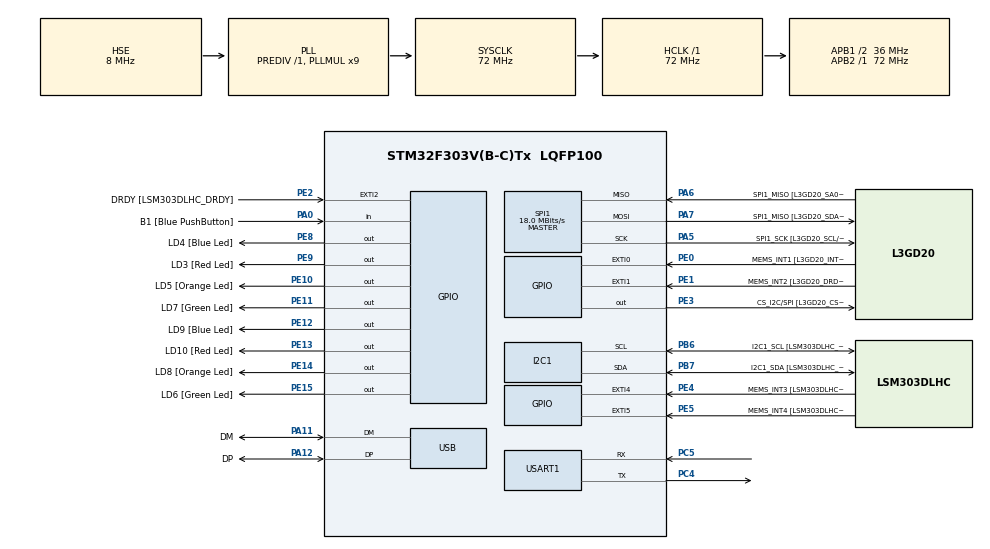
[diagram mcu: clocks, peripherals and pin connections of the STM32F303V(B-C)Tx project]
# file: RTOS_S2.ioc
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FREERTOS.BinarySemaphores01=BinSem,Dynamic,NULL
FREERTOS.Tasks01=NormalTask,0,128,StartNormalTask,Default,NULL,Dynamic,NULL,NULL;HighTask,1,128,StartHighTask,Default,NULL,Dynamic,NULL,NULL;LowTask,-1,128,StartLowTask,Default,NULL,Dynamic,NULL,NULL
FREERTOS.configUSE_NEWLIB_REENTRANT=1
I2C1.Timing-I2C=0x2000090E
Mcu.Family=STM32F3
Mcu.Name=STM32F303V(B-C)Tx
Mcu.Package=LQFP100
NVIC.PriorityGroup=NVIC_PRIORITYGROUP_4
NVIC.TIM1_UP_TIM16_IRQn=true\:15\:0\:false\:false\:true\:false\:false\:true\:true
NVIC.TimeBase=TIM1_UP_TIM16_IRQn
NVIC.TimeBaseIP=TIM1
PA0.GPIO_Label=B1 [Blue PushButton]
PA0.Signal=GPIO_Input
PA11.GPIO_Label=DM
PA11.Mode=Device
PA11.Signal=USB_DM
PA12.GPIO_Label=DP
PA12.Mode=Device
PA12.Signal=USB_DP
PA13.GPIO_Label=SWDIO
PA13.Mode=Serial_Wire
PA13.Signal=SYS_JTMS-SWDIO
PA14.GPIO_Label=SWCLK
PA14.Mode=Serial_Wire
PA14.Signal=SYS_JTCK-SWCLK
PA5.GPIO_Label=SPI1_SCK [L3GD20_SCL/SPC]
PA5.Mode=Full_Duplex_Master
PA5.Signal=SPI1_SCK
PA6.GPIO_Label=SPI1_MISO [L3GD20_SA0/SDO]
PA6.Mode=Full_Duplex_Master
PA6.Signal=SPI1_MISO
PA7.GPIO_Label=SPI1_MISO [L3GD20_SDA/SDI/SDO]
PA7.Mode=Full_Duplex_Master
PA7.Signal=SPI1_MOSI
PB3.GPIO_Label=SWO
PB3.Signal=SYS_JTDO-TRACESWO
PB6.GPIO_Label=I2C1_SCL [LSM303DLHC_SCL]
PB6.GPIO_Pu=GPIO_PULLUP
PB6.Mode=I2C
PB6.Signal=I2C1_SCL
PB7.GPIO_Label=I2C1_SDA [LSM303DLHC_SDA]
PB7.GPIO_Pu=GPIO_PULLUP
PB7.Mode=I2C
PB7.Signal=I2C1_SDA
PC14-OSC32_IN.GPIO_Label=OSC32_IN
PC14-OSC32_IN.Signal=RCC_OSC32_IN
PC15-OSC32_OUT.GPIO_Label=OSC32_OUT
PC15-OSC32_OUT.Signal=RCC_OSC32_OUT
PC4.Mode=Asynchronous
PC4.Signal=USART1_TX
PC5.Mode=Asynchronous
PC5.Signal=USART1_RX
PE0.GPIO_Label=MEMS_INT1 [L3GD20_INT1]
PE0.GPIO_ModeDefaultEXTI=GPIO_MODE_EVT_RISING
PE0.Signal=GPXTI0
PE1.GPIO_Label=MEMS_INT2 [L3GD20_DRDY/INT2]
PE1.GPIO_ModeDefaultEXTI=GPIO_MODE_EVT_RISING
PE1.Signal=GPXTI1
PE10.GPIO_Label=LD5 [Orange Led]
PE10.Signal=GPIO_Output
PE11.GPIO_Label=LD7 [Green Led]
PE11.Signal=GPIO_Output
PE12.GPIO_Label=LD9 [Blue Led]
PE12.Signal=GPIO_Output
PE13.GPIO_Label=LD10 [Red Led]
PE13.Signal=GPIO_Output
PE14.GPIO_Label=LD8 [Orange Led]
PE14.Signal=GPIO_Output
PE15.GPIO_Label=LD6 [Green Led]
PE15.Signal=GPIO_Output
PE2.GPIO_Label=DRDY [LSM303DLHC_DRDY]
PE2.GPIO_ModeDefaultEXTI=GPIO_MODE_EVT_RISING
PE2.Signal=GPXTI2
PE3.GPIO_Label=CS_I2C/SPI [L3GD20_CS_I2C/SPI]
PE3.Signal=GPIO_Output
PE4.GPIO_Label=MEMS_INT3 [LSM303DLHC_INT1]
PE4.GPIO_ModeDefaultEXTI=GPIO_MODE_EVT_RISING
PE4.Signal=GPXTI4
PE5.GPIO_Label=MEMS_INT4 [LSM303DLHC_INT2]
PE5.GPIO_ModeDefaultEXTI=GPIO_MODE_EVT_RISING
PE5.Signal=GPXTI5
PE8.GPIO_Label=LD4 [Blue Led]
PE8.Signal=GPIO_Output
PE9.GPIO_Label=LD3 [Red Led]
PE9.Signal=GPIO_Output
PF0-OSC_IN.GPIO_Label=OSC_IN
PF0-OSC_IN.Mode=HSE-External-Clock-Source
PF0-OSC_IN.Signal=RCC_OSC_IN
PF1-OSC_OUT.GPIO_Label=OSC_OUT
PF1-OSC_OUT.Signal=RCC_OSC_OUT
ProjectManager.HeapSize=0x200
ProjectManager.StackSize=0x400
ProjectManager.TargetToolchain=STM32CubeIDE
RCC.AHBFreq_Value=72000000
RCC.APB1CLKDivider=RCC_HCLK_DIV2
RCC.APB1Freq_Value=36000000
RCC.APB1TimFreq_Value=72000000
RCC.APB2Freq_Value=72000000
RCC.APB2TimFreq_Value=72000000
RCC.CortexFreq_Value=72000000
RCC.HCLKFreq_Value=72000000
RCC.HSE_VALUE=8000000
RCC.HSI_VALUE=8000000
RCC.LSE_VALUE=32768
RCC.PLLMUL=RCC_PLL_MUL9
RCC.PRESCALERUSB=RCC_USBCLKSOURCE_PLL_DIV1_5
RCC.SYSCLKFreq_VALUE=72000000
RCC.SYSCLKSourceVirtual=RCC_SYSCLKSOURCE_PLLCLK
RCC.USBFreq_Value=48000000
SPI1.BaudRatePrescaler=SPI_BAUDRATEPRESCALER_4
SPI1.BaudRatePrescaler-Full_Duplex_Master=SPI_BAUDRATEPRESCALER_2
SPI1.CalculateBaudRate=18.0 MBits/s
SPI1.CalculateBaudRate-Full_Duplex_Master=24.0 MBits/s
SPI1.Direction=SPI_DIRECTION_2LINES
SPI1.Mode=SPI_MODE_MASTER
SPI1.Mode-Full_Duplex_Master=SPI_MODE_MASTER
SPI1.VirtualType=VM_MASTER
USART1.VirtualMode-Asynchronous=VM_ASYNC
VP_FREERTOS_VS_CMSIS_V1.Mode=CMSIS_V1
VP_SYS_VS_tim1.Mode=TIM1
board=STM32F3DISCOVERY

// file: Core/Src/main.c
/* USER CODE BEGIN Header */
/**
  ******************************************************************************
  * @file           : main.c
  * @brief          : Main program body
  ******************************************************************************
  * @attention
  *
  * Copyright (c) 2024 STMicroelectronics.
  * All rights reserved.
  *
  * This software is licensed under terms that can be found in the LICENSE file
  * in the root directory of this software component.
  * If no LICENSE file comes with this software, it is provided AS-IS.
  *
  ******************************************************************************
  */
/* USER CODE END Header */
#include "main.h"
#include "cmsis_os.h"

I2C_HandleTypeDef hi2c1;

SPI_HandleTypeDef hspi1;

UART_HandleTypeDef huart1;

PCD_HandleTypeDef hpcd_USB_FS;

osThreadId NormalTaskHandle;
osThreadId HighTaskHandle;
osThreadId LowTaskHandle;
osSemaphoreId BinSemHandle;

void SystemClock_Config(void);
static void MX_GPIO_Init(void);
static void MX_I2C1_Init(void);
static void MX_SPI1_Init(void);
static void MX_USB_PCD_Init(void);
static void MX_USART1_UART_Init(void);
void StartNormalTask(void const * argument);
void StartHighTask(void const * argument);
void StartLowTask(void const * argument);

int main(void)
{

  /* MCU Configuration--------------------------------------------------------*/

  /* Reset of all peripherals, Initializes the Flash interface and the Systick. */
  HAL_Init();

  /* Configure the system clock */
  SystemClock_Config();

  /* Initialize all configured peripherals */
  MX_GPIO_Init();
  MX_I2C1_Init();
  MX_SPI1_Init();
  MX_USB_PCD_Init();
  MX_USART1_UART_Init();

  /* Create the semaphores(s) */
  /* definition and creation of BinSem */
  osSemaphoreDef(BinSem);
  BinSemHandle = osSemaphoreCreate(osSemaphore(BinSem), 1);

  /* Create the thread(s) */
  /* definition and creation of NormalTask */
  osThreadDef(NormalTask, StartNormalTask, osPriorityNormal, 0, 128);
  NormalTaskHandle = osThreadCreate(osThread(NormalTask), NULL);

  /* definition and creation of HighTask */
  osThreadDef(HighTask, StartHighTask, osPriorityAboveNormal, 0, 128);
  HighTaskHandle = osThreadCreate(osThread(HighTask), NULL);

  /* definition and creation of LowTask */
  osThreadDef(LowTask, StartLowTask, osPriorityBelowNormal, 0, 128);
  LowTaskHandle = osThreadCreate(osThread(LowTask), NULL);

  /* Start scheduler */
  osKernelStart();

  /* We should never get here as control is now taken by the scheduler */
  /* Infinite loop */
  while (1)
  {

  }
}

void SystemClock_Config(void)
{
  RCC_OscInitTypeDef RCC_OscInitStruct = {0};
  RCC_ClkInitTypeDef RCC_ClkInitStruct = {0};
  RCC_PeriphCLKInitTypeDef PeriphClkInit = {0};

  /** Initializes the RCC Oscillators according to the specified parameters
  * in the RCC_OscInitTypeDef structure.
  */
  RCC_OscInitStruct.OscillatorType = RCC_OSCILLATORTYPE_HSI|RCC_OSCILLATORTYPE_HSE;
  RCC_OscInitStruct.HSEState = RCC_HSE_BYPASS;
  RCC_OscInitStruct.HSEPredivValue = RCC_HSE_PREDIV_DIV1;
  RCC_OscInitStruct.HSIState = RCC_HSI_ON;
  RCC_OscInitStruct.HSICalibrationValue = RCC_HSICALIBRATION_DEFAULT;
  RCC_OscInitStruct.PLL.PLLState = RCC_PLL_ON;
  RCC_OscInitStruct.PLL.PLLSource = RCC_PLLSOURCE_HSE;
  RCC_OscInitStruct.PLL.PLLMUL = RCC_PLL_MUL9;
  if (HAL_RCC_OscConfig(&RCC_OscInitStruct) != HAL_OK)
  {
    Error_Handler();
  }

  /** Initializes the CPU, AHB and APB buses clocks
  */
  RCC_ClkInitStruct.ClockType = RCC_CLOCKTYPE_HCLK|RCC_CLOCKTYPE_SYSCLK
                              |RCC_CLOCKTYPE_PCLK1|RCC_CLOCKTYPE_PCLK2;
  RCC_ClkInitStruct.SYSCLKSource = RCC_SYSCLKSOURCE_PLLCLK;
  RCC_ClkInitStruct.AHBCLKDivider = RCC_SYSCLK_DIV1;
  RCC_ClkInitStruct.APB1CLKDivider = RCC_HCLK_DIV2;
  RCC_ClkInitStruct.APB2CLKDivider = RCC_HCLK_DIV1;

  if (HAL_RCC_ClockConfig(&RCC_ClkInitStruct, FLASH_LATENCY_2) != HAL_OK)
  {
    Error_Handler();
  }
  PeriphClkInit.PeriphClockSelection = RCC_PERIPHCLK_USB|RCC_PERIPHCLK_USART1
                              |RCC_PERIPHCLK_I2C1;
  PeriphClkInit.Usart1ClockSelection = RCC_USART1CLKSOURCE_PCLK2;
  PeriphClkInit.I2c1ClockSelection = RCC_I2C1CLKSOURCE_HSI;
  PeriphClkInit.USBClockSelection = RCC_USBCLKSOURCE_PLL_DIV1_5;
  if (HAL_RCCEx_PeriphCLKConfig(&PeriphClkInit) != HAL_OK)
  {
    Error_Handler();
  }
}

static void MX_I2C1_Init(void)
{

  hi2c1.Instance = I2C1;
  hi2c1.Init.Timing = 0x2000090E;
  hi2c1.Init.OwnAddress1 = 0;
  hi2c1.Init.AddressingMode = I2C_ADDRESSINGMODE_7BIT;
  hi2c1.Init.DualAddressMode = I2C_DUALADDRESS_DISABLE;
  hi2c1.Init.OwnAddress2 = 0;
  hi2c1.Init.OwnAddress2Masks = I2C_OA2_NOMASK;
  hi2c1.Init.GeneralCallMode = I2C_GENERALCALL_DISABLE;
  hi2c1.Init.NoStretchMode = I2C_NOSTRETCH_DISABLE;
  if (HAL_I2C_Init(&hi2c1) != HAL_OK)
  {
    Error_Handler();
  }

  /** Configure Analogue filter
  */
  if (HAL_I2CEx_ConfigAnalogFilter(&hi2c1, I2C_ANALOGFILTER_ENABLE) != HAL_OK)
  {
    Error_Handler();
  }

  /** Configure Digital filter
  */
  if (HAL_I2CEx_ConfigDigitalFilter(&hi2c1, 0) != HAL_OK)
  {
    Error_Handler();
  }

}

static void MX_SPI1_Init(void)
{

  /* SPI1 parameter configuration*/
  hspi1.Instance = SPI1;
  hspi1.Init.Mode = SPI_MODE_MASTER;
  hspi1.Init.Direction = SPI_DIRECTION_2LINES;
  hspi1.Init.DataSize = SPI_DATASIZE_4BIT;
  hspi1.Init.CLKPolarity = SPI_POLARITY_LOW;
  hspi1.Init.CLKPhase = SPI_PHASE_1EDGE;
  hspi1.Init.NSS = SPI_NSS_SOFT;
  hspi1.Init.BaudRatePrescaler = SPI_BAUDRATEPRESCALER_4;
  hspi1.Init.FirstBit = SPI_FIRSTBIT_MSB;
  hspi1.Init.TIMode = SPI_TIMODE_DISABLE;
  hspi1.Init.CRCCalculation = SPI_CRCCALCULATION_DISABLE;
  hspi1.Init.CRCPolynomial = 7;
  hspi1.Init.CRCLength = SPI_CRC_LENGTH_DATASIZE;
  hspi1.Init.NSSPMode = SPI_NSS_PULSE_ENABLE;
  if (HAL_SPI_Init(&hspi1) != HAL_OK)
  {
    Error_Handler();
  }

}

static void MX_USART1_UART_Init(void)
{

  huart1.Instance = USART1;
  huart1.Init.BaudRate = 38400;
  huart1.Init.WordLength = UART_WORDLENGTH_8B;
  huart1.Init.StopBits = UART_STOPBITS_1;
  huart1.Init.Parity = UART_PARITY_NONE;
  huart1.Init.Mode = UART_MODE_TX_RX;
  huart1.Init.HwFlowCtl = UART_HWCONTROL_NONE;
  huart1.Init.OverSampling = UART_OVERSAMPLING_16;
  huart1.Init.OneBitSampling = UART_ONE_BIT_SAMPLE_DISABLE;
  huart1.AdvancedInit.AdvFeatureInit = UART_ADVFEATURE_NO_INIT;
  if (HAL_UART_Init(&huart1) != HAL_OK)
  {
    Error_Handler();
  }

}

static void MX_USB_PCD_Init(void)
{

  hpcd_USB_FS.Instance = USB;
  hpcd_USB_FS.Init.dev_endpoints = 8;
  hpcd_USB_FS.Init.speed = PCD_SPEED_FULL;
  hpcd_USB_FS.Init.phy_itface = PCD_PHY_EMBEDDED;
  hpcd_USB_FS.Init.low_power_enable = DISABLE;
  hpcd_USB_FS.Init.battery_charging_enable = DISABLE;
  if (HAL_PCD_Init(&hpcd_USB_FS) != HAL_OK)
  {
    Error_Handler();
  }

}

static void MX_GPIO_Init(void)
{
  GPIO_InitTypeDef GPIO_InitStruct = {0};

  /* GPIO Ports Clock Enable */
  __HAL_RCC_GPIOE_CLK_ENABLE();
  __HAL_RCC_GPIOC_CLK_ENABLE();
  __HAL_RCC_GPIOF_CLK_ENABLE();
  __HAL_RCC_GPIOA_CLK_ENABLE();
  __HAL_RCC_GPIOB_CLK_ENABLE();

  /*Configure GPIO pin Output Level */
  HAL_GPIO_WritePin(GPIOE, CS_I2C_SPI_Pin|LD4_Pin|LD3_Pin|LD5_Pin
                          |LD7_Pin|LD9_Pin|LD10_Pin|LD8_Pin
                          |LD6_Pin, GPIO_PIN_RESET);

  /*Configure GPIO pins : DRDY_Pin MEMS_INT3_Pin MEMS_INT4_Pin MEMS_INT1_Pin
                           MEMS_INT2_Pin */
  GPIO_InitStruct.Pin = DRDY_Pin|MEMS_INT3_Pin|MEMS_INT4_Pin|MEMS_INT1_Pin
                          |MEMS_INT2_Pin;
  GPIO_InitStruct.Mode = GPIO_MODE_EVT_RISING;
  GPIO_InitStruct.Pull = GPIO_NOPULL;
  HAL_GPIO_Init(GPIOE, &GPIO_InitStruct);

  /*Configure GPIO pins : CS_I2C_SPI_Pin LD4_Pin LD3_Pin LD5_Pin
                           LD7_Pin LD9_Pin LD10_Pin LD8_Pin
                           LD6_Pin */
  GPIO_InitStruct.Pin = CS_I2C_SPI_Pin|LD4_Pin|LD3_Pin|LD5_Pin
                          |LD7_Pin|LD9_Pin|LD10_Pin|LD8_Pin
                          |LD6_Pin;
  GPIO_InitStruct.Mode = GPIO_MODE_OUTPUT_PP;
  GPIO_InitStruct.Pull = GPIO_NOPULL;
  GPIO_InitStruct.Speed = GPIO_SPEED_FREQ_LOW;
  HAL_GPIO_Init(GPIOE, &GPIO_InitStruct);

  /*Configure GPIO pin : B1_Pin */
  GPIO_InitStruct.Pin = B1_Pin;
  GPIO_InitStruct.Mode = GPIO_MODE_INPUT;
  GPIO_InitStruct.Pull = GPIO_NOPULL;
  HAL_GPIO_Init(B1_GPIO_Port, &GPIO_InitStruct);

}

/* USER CODE BEGIN 4 */
void task_High_send() {
	uint8_t data[50];
    sprintf(data, "Task High => *Enter* & waiting for Binary Semaphore\r\n");
    HAL_UART_Transmit(&huart1, data, strlen(data), 500);

    osSemaphoreWait(BinSemHandle, osWaitForever);

    sprintf(data, "Task High => acquired by Binary Semaphore\r\n");
    HAL_UART_Transmit(&huart1, data, strlen(data), 500);

    sprintf(data, "Task High => #Leave#  & relase the Binary Semaphore\r\n");
    HAL_UART_Transmit(&huart1, data, strlen(data), 500);

    osSemaphoreRelease(BinSemHandle);
}

/*void task_Normal_send() {
	uint8_t data[50];
    sprintf(data, "Task Medium => *Enter* & waiting for Binary Semaphore\r\n");
    HAL_UART_Transmit(&huart1, data, strlen(data), 500);

    osSemaphoreWait(BinSemHandle, osWaitForever);

    sprintf(data, "Task Medium => acquired by Binary Semaphore\r\n");
    HAL_UART_Transmit(&huart1, data, strlen(data), 500);

    while(!HAL_GPIO_ReadPin(B1_GPIO_Port, B1_Pin));

    sprintf(data, "Task Medium => #Leave# & relase the Binary Semaphore\r\n");
    HAL_UART_Transmit(&huart1, data, strlen(data), 500);

   osSemaphoreRelease(BinSemHandle);
}*/

void task_Normal_send() {
	uint8_t data[50];
    sprintf(data, "Task Medium => *Enter*\r\n");
    HAL_UART_Transmit(&huart1, data, strlen(data), 500);

    sprintf(data, "Task Medium => #Leave#\r\n");
    HAL_UART_Transmit(&huart1, data, strlen(data), 500);
}

/*
void task_Low_send() {
	uint8_t data[50];
    sprintf(data, "Task Low => *Enter* \r\n");
    HAL_UART_Transmit(&huart1, data, strlen(data), 500);

    sprintf(data, "Task Low => #Leave# \r\n");
    HAL_UART_Transmit(&huart1, data, strlen(data), 500);
}
*/

void task_Low_send() {
	uint8_t data[50];
    sprintf(data, "Task Low => *Enter* & waiting for Binary Semaphore\r\n");
    HAL_UART_Transmit(&huart1, data, strlen(data), 500);

    osSemaphoreWait(BinSemHandle, osWaitForever);

    sprintf(data, "Task Low => acquired by Binary Semaphore\r\n");
    HAL_UART_Transmit(&huart1, data, strlen(data), 500);

    while(!HAL_GPIO_ReadPin(B1_GPIO_Port, B1_Pin));

    sprintf(data, "Task Low => #Leave# & relase the Binary Semaphore\r\n");
    HAL_UART_Transmit(&huart1, data, strlen(data), 500);

    osSemaphoreRelease(BinSemHandle);
}
/* USER CODE END 4 */

void StartNormalTask(void const * argument)
{
  /* USER CODE BEGIN 5 */
  /* Infinite loop */
  for(;;)
  {
	  task_Normal_send();
	  osDelay(500);
  }
  /* USER CODE END 5 */
}

void StartHighTask(void const * argument)
{
  /* USER CODE BEGIN StartHighTask */
  /* Infinite loop */
  for(;;)
  {
	  task_High_send();
	  osDelay(500);
  }
  /* USER CODE END StartHighTask */
}

void StartLowTask(void const * argument)
{
  /* USER CODE BEGIN StartLowTask */
  /* Infinite loop */
  for(;;)
  {
	  task_Low_send();
	  osDelay(500);
  }
  /* USER CODE END StartLowTask */
}

void HAL_TIM_PeriodElapsedCallback(TIM_HandleTypeDef *htim)
{
  if (htim->Instance == TIM1) {
    HAL_IncTick();
  }
}

void Error_Handler(void)
{
  __disable_irq();
  while (1)
  {
  }
}
